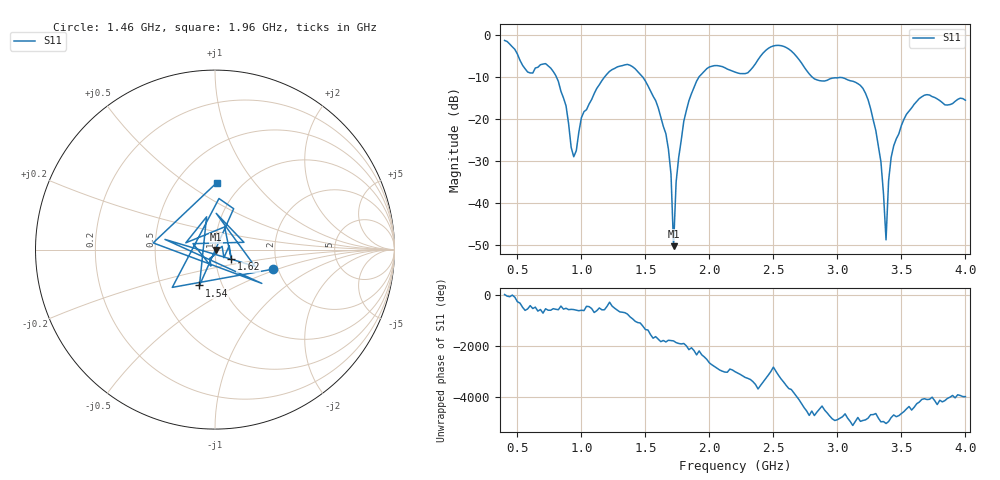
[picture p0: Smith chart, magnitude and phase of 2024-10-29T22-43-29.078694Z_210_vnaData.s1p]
!Created with skrf (http://scikit-rf.org).
# Hz S RI R 50.0
!freq ReS11 ImS11
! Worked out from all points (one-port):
!   181 points, 400 MHz to 4 GHz, reference 50 ohm
!   lowest |S11| = -50.3 dB at 1.72 GHz (marker M1), VSWR 1.01, Z = 50.3 - j0.0119 ohm
!   |S11| at or under -10 dB: 805.9 MHz to 1.179 GHz (373 MHz wide, 37.6 % of centre); 1.481 GHz to 1.917 GHz (436.3 MHz wide, 25.7 % of centre); 2.806 GHz to end of sweep
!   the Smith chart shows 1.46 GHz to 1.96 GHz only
!   S11 on the Smith chart (normalised r, x): 1.46 GHz: 1.89, -0.46; 1.54 GHz: 0.78, -0.33; 1.62 GHz: 1.19, -0.13; 1.96 GHz: 0.77, +0.66
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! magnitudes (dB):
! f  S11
! 400 MHz  -1.2
! 580 MHz  -8.7
! 760 MHz  -7.8
! 860 MHz  -14.9
! 940 MHz  -29.0
! 1.02 GHz  -18.2
! 1.3 GHz  -7.3
! 1.46 GHz  -9.3
! 1.54 GHz  -13.2
! 1.62 GHz  -19.5
! 1.7 GHz  -33.1
! 1.72 GHz  -50.3
! 1.74 GHz  -35.0
! 1.76 GHz  -29.2
! 1.84 GHz  -15.6
! 1.96 GHz  -8.6
! 2.2 GHz  -8.7
! 2.66 GHz  -4.3
! 2.82 GHz  -10.4
! 3.1 GHz  -10.8
! 3.22 GHz  -13.8
! 3.3 GHz  -22.7
! 3.34 GHz  -30.2
! 3.38 GHz  -48.8
! 3.4 GHz  -34.7
! 3.42 GHz  -29.1
! 3.56 GHz  -18.0
! 4 GHz  -15.5
